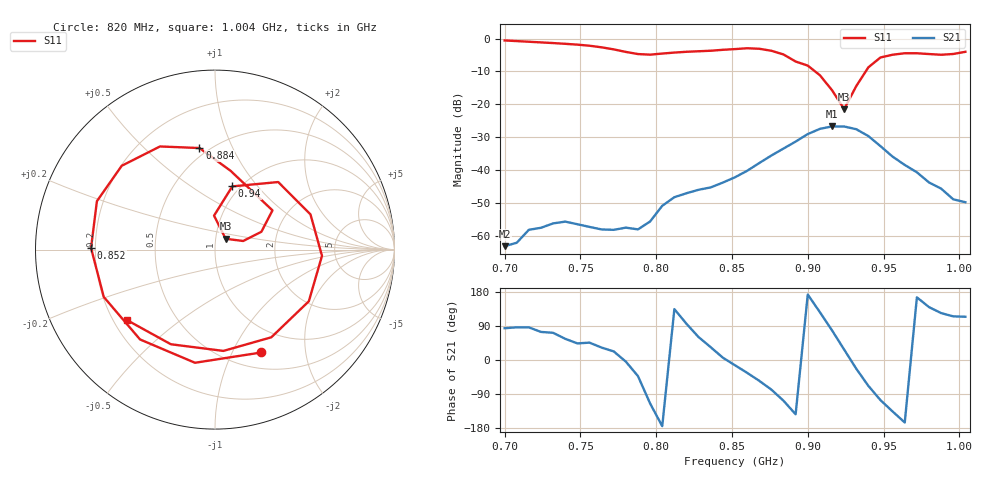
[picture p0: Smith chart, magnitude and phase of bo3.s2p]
# Hz S RI R 50
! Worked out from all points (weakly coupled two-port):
!   39 points, 700 MHz to 1.004 GHz, reference 50 ohm
!   highest |S21| = -26.71 dB at 916 MHz (marker M1); lowest = -63.1 dB at 700 MHz (marker M2)
!   lowest |S11| = -21.5 dB at 924 MHz (marker M3), VSWR 1.18, Z = 55.9 + j6.78 ohm
!   |S11| at or under -10 dB: 904.8 MHz to 938.2 MHz (33.41 MHz wide, 3.63 % of centre)
!   S12 and S22 are empty: the file has one direction only
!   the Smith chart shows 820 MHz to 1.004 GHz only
!   S11 on the Smith chart (normalised r, x): 820 MHz: 0.69, -1.30; 852 MHz: 0.18, +0.01; 884 MHz: 0.45, +0.75; 940 MHz: 0.92, +0.75; 1.004 GHz: 0.26, -0.33
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7e8  0.7511 0.5553  7.46e-05 0.000696  0 0  0 0
7.24e8  0.8394 -0.2381  0.000365 0.00128  0 0  0 0
7.4e8  0.4599 -0.6916  0.000925 0.00137  0 0  0 0
7.56e8  -0.1845 -0.7549  0.000957 0.000985  0 0  0 0
7.72e8  -0.6544 -0.1985  0.00114 0.000477  0 0  0 0
7.8e8  -0.5827 0.2269  0.00133 -0.0001  0 0  0 0
7.88e8  -0.2344 0.531  0.000926 -0.000853  0 0  0 0
7.96e8  0.2521 0.5095  -0.000696 -0.00151  0 0  0 0
8.04e8  0.5688 0.159  -0.00286 -0.00027  0 0  0 0
8.2e8  0.2578 -0.5733  -0.000424 0.00444  0 0  0 0
8.36e8  -0.4176 -0.5006  0.00455 0.00303  0 0  0 0
8.52e8  -0.6906 0.00896  0.00757 -0.00187  0 0  0 0
8.68e8  -0.5196 0.4671  0.00737 -0.0105  0 0  0 0
8.84e8  -0.0867 0.5658  -0.0064 -0.0203  0 0  0 0
9e8  0.3202 0.2185  -0.0351 0.00444  0 0  0 0
9.08e8  0.2584 0.0993  -0.025 0.0342  0 0  0 0
9.16e8  0.1569 0.0479  0.0094 0.0452  0 0  0 0
9.24e8  0.0594 0.0602  0.0408 0.0214  0 0  0 0
9.4e8  0.0965 0.3522  0.0122 -0.0306  0 0  0 0
9.56e8  0.532 0.1961  -0.0115 -0.0112  0 0  0 0
9.8e8  0.3138 -0.4886  -0.00494 0.00422  0 0  0 0
1.004e9  -0.4895 -0.3933  -0.00133 0.00297  0 0  0 0
